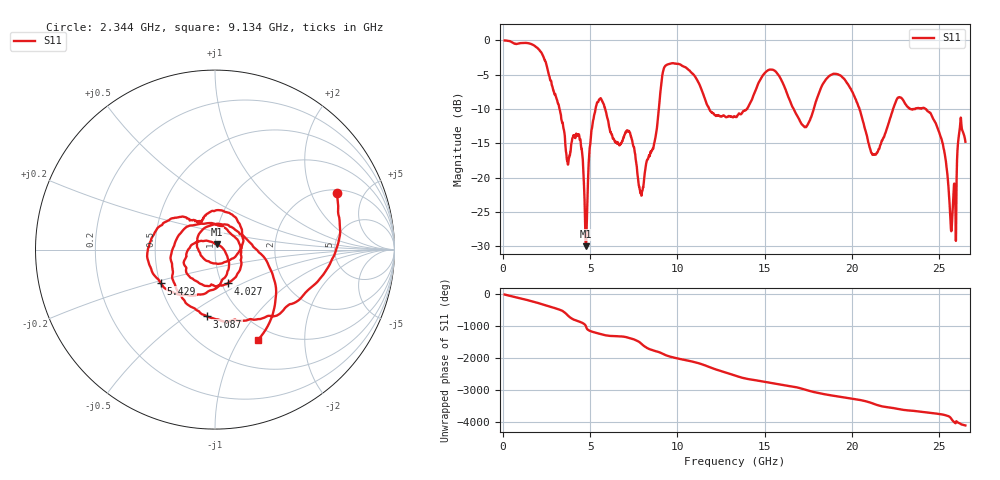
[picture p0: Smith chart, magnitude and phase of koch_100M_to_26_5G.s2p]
!Keysight Technologies,N5222B,MY60213399,A.14.00.23
!Date: Tuesday, February 27, 2024 20:31:58
!Correction: S11(C  1-Port  )
!S21(Off)
!S12(Off)
!S22(Off)
!S2P File: Measurement: :
# Hz S  dB  R 50
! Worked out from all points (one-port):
!   3201 points, 100 MHz to 26.5 GHz, reference 50 ohm
!   lowest |S11| = -30.0 dB at 4.761 GHz (marker M1), VSWR 1.07, Z = 51.2 + j2.98 ohm
!   |S11| at or under -10 dB: 5.86 GHz to 8.935 GHz (3.075 GHz wide, 41.6 % of centre); 11.82 GHz to 13.97 GHz (2.146 GHz wide, 16.6 % of centre); 24.22 GHz to end of sweep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
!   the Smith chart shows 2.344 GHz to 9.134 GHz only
!   S11 on the Smith chart (normalised r, x): 2.344 GHz: 2.16, +3.12; 3.087 GHz: 0.70, -0.61; 4.027 GHz: 1.07, -0.42; 5.429 GHz: 0.51, -0.22; 9.134 GHz: 0.83, -1.21
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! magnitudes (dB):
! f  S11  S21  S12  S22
! 100 MHz  0.0  -  -  -
! 2.344 GHz  -2.5  -  -  -
! 3.087 GHz  -8.5  -  -  -
! 3.713 GHz  -18.0  -  -  -
! 4.027 GHz  -13.9  -  -  -
! 4.505 GHz  -15.7  -  -  -
! 4.761 GHz  -30.0  -  -  -
! 5.429 GHz  -9.0  -  -  -
! 7.261 GHz  -13.4  -  -  -
! 7.921 GHz  -22.4  -  -  -
! 8.903 GHz  -10.8  -  -  -
! 9.134 GHz  -5.1  -  -  -
! 13.3 GHz  -11.1  -  -  -
! 15.35 GHz  -4.2  -  -  -
! 17.71 GHz  -10.9  -  -  -
! 19.07 GHz  -4.9  -  -  -
! 21.2 GHz  -16.6  -  -  -
! 22.1 GHz  -12.1  -  -  -
! 24.5 GHz  -10.6  -  -  -
! 25.68 GHz  -27.7  -  -  -
! 26.17 GHz  -13.1  -  -  -
! 26.5 GHz  -14.8  -  -  -
